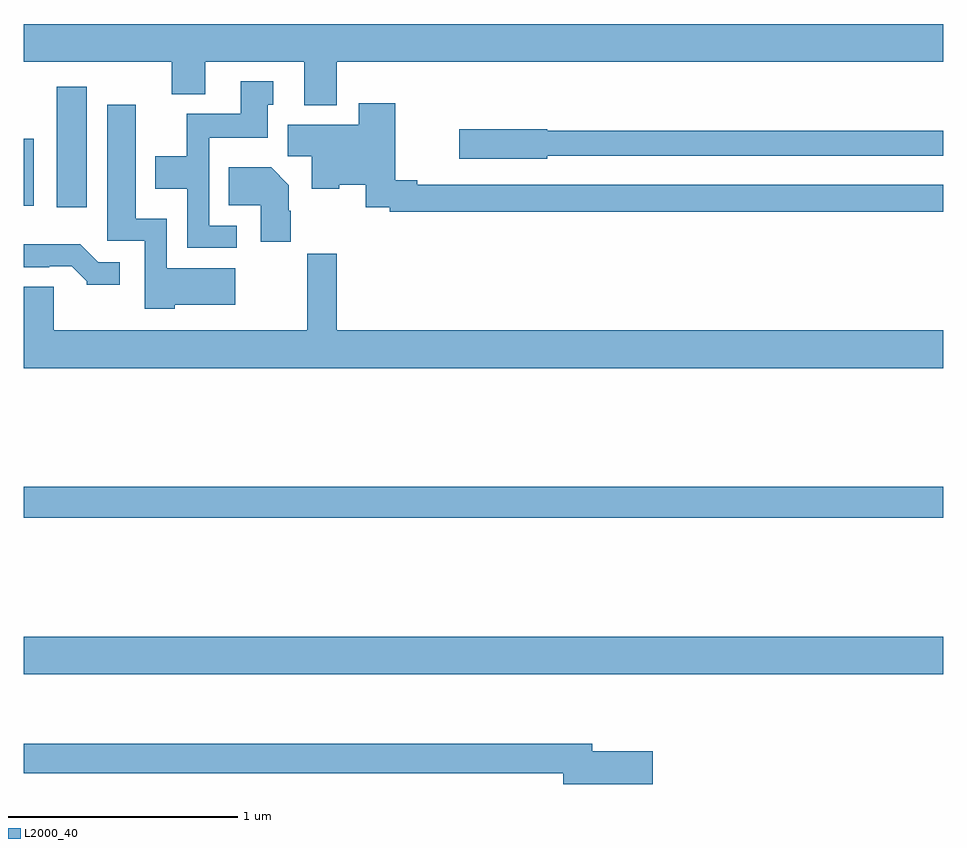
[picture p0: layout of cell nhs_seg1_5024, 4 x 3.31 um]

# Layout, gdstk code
import gdstk
lib = gdstk.Library(unit=1e-6, precision=1e-09)
def R(c, l, rs):  # rectangles x0, y0, x1, y1
    for r in rs: c.add(gdstk.rectangle(r[:2], r[2:], *l))
def P(c, l, *ps):  # polygons
    for p in ps: c.add(gdstk.Polygon(p, *l))
L2000_40 = (2000, 40)

nhs_seg1_5024 = lib.new_cell('nhs_seg1_5024')
R(nhs_seg1_5024, L2000_40, [(383,545.072,387,545.236), (383,545.752,387,545.888), (383.144,547.104,383.275,547.627), (383,547.109,383.044,547.402)])
P(nhs_seg1_5024, L2000_40, [(384.361,547.736),(387,547.736),(387,547.9),(383,547.9),(383,547.736),(383.644,547.736),(383.644,547.595),(383.791,547.595),(383.791,547.736),(384.221,547.736),(384.221,547.547),(384.361,547.547)],
  [(383.926,547.023),(383.808,547.023),(383.808,547.406),(384.061,547.406),(384.061,547.548),(384.085,547.548),(384.085,547.651),(383.945,547.651),(383.945,547.51),(383.71,547.51),(383.71,547.324),(383.573,547.324),(383.573,547.184),(383.712,547.184),(383.712,546.927),(383.926,546.927)],
  [(387,547.2),(384.712,547.2),(384.712,547.22),(384.616,547.22),(384.616,547.555),(384.458,547.555),(384.458,547.462),(384.149,547.462),(384.149,547.324),(384.254,547.324),(384.254,547.184),(384.372,547.184),(384.372,547.202),(384.488,547.202),(384.488,547.104),(384.592,547.104),(384.592,547.084),(387,547.084)],
  [(383.658,546.68),(383.92,546.68),(383.92,546.838),(383.622,546.838),(383.622,547.054),(383.488,547.054),(383.488,547.549),(383.363,547.549),(383.363,546.957),(383.526,546.957),(383.526,546.662),(383.658,546.662)],
  [(385.278,547.326),(387,547.326),(387,547.435),(385.278,547.435),(385.278,547.443),(384.894,547.443),(384.894,547.313),(385.278,547.313)],
  [(384.162,547.088),(384.154,547.088),(384.154,547.198),(384.076,547.276),(383.893,547.276),(383.893,547.112),(384.032,547.112),(384.032,546.954),(384.162,546.954)],
  [(383.419,546.864),(383.325,546.864),(383.247,546.943),(383,546.943),(383,546.843),(383.111,546.843),(383.111,546.846),(383.21,546.846),(383.274,546.782),(383.274,546.767),(383.419,546.767)],
  [(387,546.568),(384.362,546.568),(384.362,546.901),(384.234,546.901),(384.234,546.568),(383.131,546.568),(383.131,546.758),(383,546.758),(383,546.404),(387,546.404)],
  [(385.735,544.737),(385.474,544.737),(385.474,544.771),(383,544.771),(383,544.642),(385.346,544.642),(385.346,544.595),(385.735,544.595)])

lib.write_gds('nhs_seg1_5024.gds')
